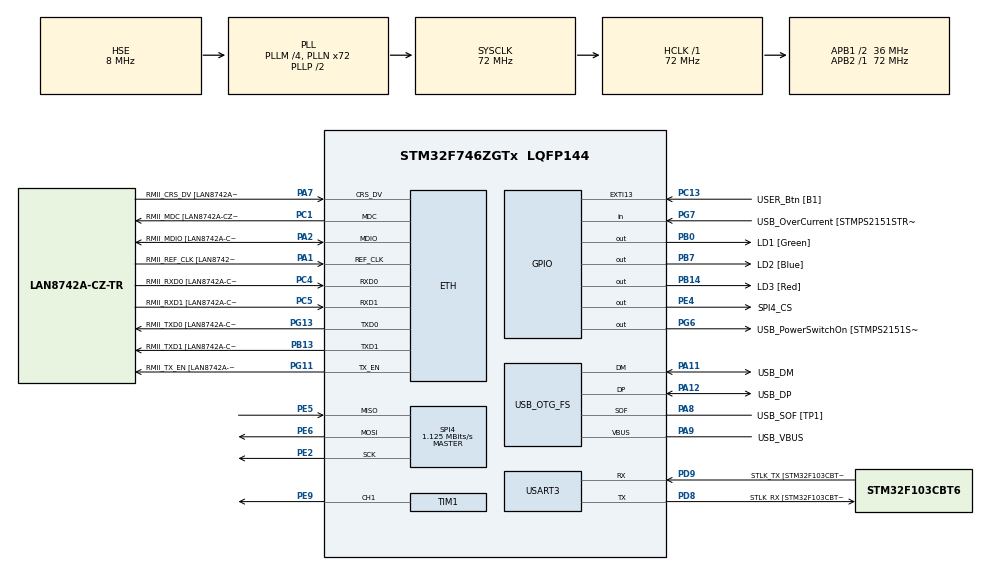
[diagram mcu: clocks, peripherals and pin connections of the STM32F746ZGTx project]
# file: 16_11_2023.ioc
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ETH.MediaInterface=HAL_ETH_RMII_MODE
ETH.PHY_Name=LAN8742A_PHY_ADDRESS
ETH.PHY_Value=0
ETH.PhyAddress=0
Mcu.Family=STM32F7
Mcu.Name=STM32F746ZGTx
Mcu.Package=LQFP144
NVIC.PriorityGroup=NVIC_PRIORITYGROUP_4
NVIC.TIM2_IRQn=true\:0\:0\:false\:false\:true\:true\:true\:true
NVIC.USART3_IRQn=true\:0\:0\:false\:false\:true\:true\:true\:true
PA1.GPIO_Label=RMII_REF_CLK [LAN8742A-CZ-TR_REFCLK0]
PA1.Mode=RMII
PA1.Signal=ETH_REF_CLK
PA10.GPIO_Label=USB_ID
PA10.Signal=USB_OTG_FS_ID
PA11.GPIO_Label=USB_DM
PA11.Mode=Device_Only
PA11.Signal=USB_OTG_FS_DM
PA12.GPIO_Label=USB_DP
PA12.Mode=Device_Only
PA12.Signal=USB_OTG_FS_DP
PA13.GPIO_Label=TMS
PA13.Mode=Serial_Wire
PA13.Signal=SYS_JTMS-SWDIO
PA14.GPIO_Label=TCK
PA14.Mode=Serial_Wire
PA14.Signal=SYS_JTCK-SWCLK
PA2.GPIO_Label=RMII_MDIO [LAN8742A-CZ-TR_MDIO]
PA2.Mode=RMII
PA2.Signal=ETH_MDIO
PA7.GPIO_Label=RMII_CRS_DV [LAN8742A-CZ-TR_CRS_DV]
PA7.Mode=RMII
PA7.Signal=ETH_CRS_DV
PA8.GPIO_Label=USB_SOF [TP1]
PA8.Mode=Activate_SOF_FS
PA8.Signal=USB_OTG_FS_SOF
PA9.GPIO_Label=USB_VBUS
PA9.Mode=Activate_VBUS
PA9.Signal=USB_OTG_FS_VBUS
PB0.GPIO_Label=LD1 [Green]
PB0.Signal=GPIO_Output
PB13.GPIO_Label=RMII_TXD1 [LAN8742A-CZ-TR_TXD1]
PB13.Mode=RMII
PB13.Signal=ETH_TXD1
PB14.GPIO_Label=LD3 [Red]
PB14.Signal=GPIO_Output
PB3.GPIO_Label=SW0
PB3.Signal=SYS_JTDO-SWO
PB7.GPIO_Label=LD2 [Blue]
PB7.Signal=GPIO_Output
PC1.GPIO_Label=RMII_MDC [LAN8742A-CZ-TR_MDC]
PC1.Mode=RMII
PC1.Signal=ETH_MDC
PC13.GPIO_Label=USER_Btn [B1]
PC13.Signal=GPXTI13
PC14/OSC32_IN.Mode=LSE-External-Oscillator
PC14/OSC32_IN.Signal=RCC_OSC32_IN
PC15/OSC32_OUT.Mode=LSE-External-Oscillator
PC15/OSC32_OUT.Signal=RCC_OSC32_OUT
PC4.GPIO_Label=RMII_RXD0 [LAN8742A-CZ-TR_RXD0]
PC4.Mode=RMII
PC4.Signal=ETH_RXD0
PC5.GPIO_Label=RMII_RXD1 [LAN8742A-CZ-TR_RXD1]
PC5.Mode=RMII
PC5.Signal=ETH_RXD1
PD8.GPIO_Label=STLK_RX [STM32F103CBT6_PA3]
PD8.GPIO_PuPd=GPIO_PULLUP
PD8.Mode=Asynchronous
PD8.Signal=USART3_TX
PD9.GPIO_Label=STLK_TX [STM32F103CBT6_PA2]
PD9.GPIO_PuPd=GPIO_PULLUP
PD9.Mode=Asynchronous
PD9.Signal=USART3_RX
PE2.Mode=Full_Duplex_Master
PE2.Signal=SPI4_SCK
PE4.GPIO_Label=SPI4_CS
PE4.Signal=GPIO_Output
PE5.Mode=Full_Duplex_Master
PE5.Signal=SPI4_MISO
PE6.Mode=Full_Duplex_Master
PE6.Signal=SPI4_MOSI
PE9.Signal=S_TIM1_CH1
PG11.GPIO_Label=RMII_TX_EN [LAN8742A-CZ-TR_TXEN]
PG11.Mode=RMII
PG11.Signal=ETH_TX_EN
PG13.GPIO_Label=RMII_TXD0 [LAN8742A-CZ-TR_TXD0]
PG13.Mode=RMII
PG13.Signal=ETH_TXD0
PG6.GPIO_Label=USB_PowerSwitchOn [STMPS2151STR_EN]
PG6.Signal=GPIO_Output
PG7.GPIO_Label=USB_OverCurrent [STMPS2151STR_FAULT]
PG7.Signal=GPIO_Input
PH0/OSC_IN.GPIO_Label=MCO [STM32F103CBT6_PA8]
PH0/OSC_IN.Mode=HSE-External-Clock-Source
PH0/OSC_IN.Signal=RCC_OSC_IN
PH1/OSC_OUT.Mode=HSE-External-Clock-Source
PH1/OSC_OUT.Signal=RCC_OSC_OUT
ProjectManager.HeapSize=0x200
ProjectManager.StackSize=0x400
ProjectManager.TargetToolchain=STM32CubeIDE
RCC.48MHZClocksFreq_Value=24000000
RCC.AHBFreq_Value=72000000
RCC.APB1CLKDivider=RCC_HCLK_DIV2
RCC.APB1Freq_Value=36000000
RCC.APB1TimFreq_Value=72000000
RCC.APB2Freq_Value=72000000
RCC.APB2TimFreq_Value=72000000
RCC.CortexFreq_Value=72000000
RCC.HCLKFreq_Value=72000000
RCC.HSE_VALUE=8000000
RCC.HSI_VALUE=16000000
RCC.PLLM=4
RCC.PLLMUL=RCC_PLL_MUL9
RCC.PLLN=72
RCC.PLLQ=3
RCC.PRESCALERUSB=RCC_USBCLKSOURCE_PLL_DIV1_5
RCC.SYSCLKFreq_VALUE=72000000
RCC.SYSCLKSource=RCC_SYSCLKSOURCE_PLLCLK
RCC.SYSCLKSourceVirtual=RCC_SYSCLKSOURCE_PLLCLK
RCC.USBFreq_Value=48000000
RCC.VCOOutputFreq_Value=144000000
SH.S_TIM1_CH1.0=TIM1_CH1,PWM Generation1 CH1
SPI4.BaudRatePrescaler=SPI_BAUDRATEPRESCALER_64
SPI4.CalculateBaudRate=1.125 MBits/s
SPI4.DataSize=SPI_DATASIZE_8BIT
SPI4.Direction=SPI_DIRECTION_2LINES
SPI4.Mode=SPI_MODE_MASTER
SPI4.VirtualType=VM_MASTER
TIM1.Channel-PWM\ Generation1\ CH1=TIM_CHANNEL_1
TIM1.Period=1000 - 1
TIM1.Prescaler=72 - 1
TIM2.Period=10000-1
TIM2.Prescaler=7200-1
USART3.VirtualMode-Asynchronous=VM_ASYNC
USB_OTG_FS.VirtualMode=Device_Only
VP_TIM2_VS_ClockSourceINT.Mode=Internal
board=NUCLEO-F746ZG

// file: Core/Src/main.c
/* USER CODE BEGIN Header */
/**
  ******************************************************************************
  * @file           : main.c
  * @brief          : Main program body
  ******************************************************************************
  * @attention
  *
  * Copyright (c) 2023 STMicroelectronics.
  * All rights reserved.
  *
  * This software is licensed under terms that can be found in the LICENSE file
  * in the root directory of this software component.
  * If no LICENSE file comes with this software, it is provided AS-IS.
  *
  ******************************************************************************
  */
/* USER CODE END Header */
#include "main.h"
#include "eth.h"
#include "spi.h"
#include "tim.h"
#include "usart.h"
#include "usb_otg.h"
#include "gpio.h"

/* USER CODE BEGIN Includes */
#include "BMP280.h"
/* USER CODE END Includes */

/* USER CODE BEGIN PV */
char cmd[] = "123";
float temp = 0.f;
float pres = 0.f;
/* USER CODE END PV */

void SystemClock_Config(void);
/* USER CODE BEGIN PFP */
void HAL_TIM_PeriodElapsedCallback(TIM_HandleTypeDef *htim)
{
	if(htim == &htim2)
	{
		uint16_t temp_b;
		uint16_t pres_b;
		bmp280Read(BMP2_osrs_t, (uint8_t*)&temp_b, 2);
		bmp280Read(BMP2_osrs_p, (uint8_t*)&pres_b, 2);
		temp = temp_b * BMP2_BIT_TO_T;// * 1000;//mC*
		pres = pres_b * BMP2_BIT_TO_PA;// * 1000;//mPa
		char buff[16];
		sprintf(buff, "%.0f;%.0f\r\n", temp, pres);
		HAL_UART_Transmit(&huart3, buff, strlen(buff), 100);
	}
}

void HAL_UART_RxCpltCallback(UART_HandleTypeDef *huart)
{
	if(huart == &huart3);
	uint8_t duty = atoi(cmd);
	if(duty > 100) duty = 100;
	__HAL_TIM_SET_COMPARE(&htim1, TIM_CHANNEL_1, duty * 10);
	HAL_UART_Receive_IT(&huart3, cmd, strlen(cmd));
}
/* USER CODE END PFP */

int main(void)
{

  /* MCU Configuration--------------------------------------------------------*/

  /* Reset of all peripherals, Initializes the Flash interface and the Systick. */
  HAL_Init();

  /* Configure the system clock */
  SystemClock_Config();

  /* Initialize all configured peripherals */
  MX_GPIO_Init();
  MX_ETH_Init();
  MX_USART3_UART_Init();
  MX_USB_OTG_FS_PCD_Init();
  MX_SPI4_Init();
  MX_TIM1_Init();
  MX_TIM2_Init();
  /* USER CODE BEGIN 2 */
  bmp280Init();
  HAL_TIM_Base_Start_IT(&htim2);
  HAL_TIM_PWM_Start(&htim1, TIM_CHANNEL_1);
  HAL_UART_Receive_IT(&huart3, cmd, strlen(cmd));
  /* USER CODE END 2 */

  /* Infinite loop */
  while (1)
  {

  }
}

void SystemClock_Config(void)
{
  RCC_OscInitTypeDef RCC_OscInitStruct = {0};
  RCC_ClkInitTypeDef RCC_ClkInitStruct = {0};

  /** Configure LSE Drive Capability
  */
  HAL_PWR_EnableBkUpAccess();

  /** Configure the main internal regulator output voltage
  */
  __HAL_RCC_PWR_CLK_ENABLE();
  __HAL_PWR_VOLTAGESCALING_CONFIG(PWR_REGULATOR_VOLTAGE_SCALE3);

  /** Initializes the RCC Oscillators according to the specified parameters
  * in the RCC_OscInitTypeDef structure.
  */
  RCC_OscInitStruct.OscillatorType = RCC_OSCILLATORTYPE_HSE;
  RCC_OscInitStruct.HSEState = RCC_HSE_BYPASS;
  RCC_OscInitStruct.PLL.PLLState = RCC_PLL_ON;
  RCC_OscInitStruct.PLL.PLLSource = RCC_PLLSOURCE_HSE;
  RCC_OscInitStruct.PLL.PLLM = 4;
  RCC_OscInitStruct.PLL.PLLN = 72;
  RCC_OscInitStruct.PLL.PLLP = RCC_PLLP_DIV2;
  RCC_OscInitStruct.PLL.PLLQ = 3;
  if (HAL_RCC_OscConfig(&RCC_OscInitStruct) != HAL_OK)
  {
    Error_Handler();
  }

  /** Initializes the CPU, AHB and APB buses clocks
  */
  RCC_ClkInitStruct.ClockType = RCC_CLOCKTYPE_HCLK|RCC_CLOCKTYPE_SYSCLK
                              |RCC_CLOCKTYPE_PCLK1|RCC_CLOCKTYPE_PCLK2;
  RCC_ClkInitStruct.SYSCLKSource = RCC_SYSCLKSOURCE_PLLCLK;
  RCC_ClkInitStruct.AHBCLKDivider = RCC_SYSCLK_DIV1;
  RCC_ClkInitStruct.APB1CLKDivider = RCC_HCLK_DIV2;
  RCC_ClkInitStruct.APB2CLKDivider = RCC_HCLK_DIV1;

  if (HAL_RCC_ClockConfig(&RCC_ClkInitStruct, FLASH_LATENCY_2) != HAL_OK)
  {
    Error_Handler();
  }
}

void Error_Handler(void)
{
  __disable_irq();
  while (1)
  {
  }
}
